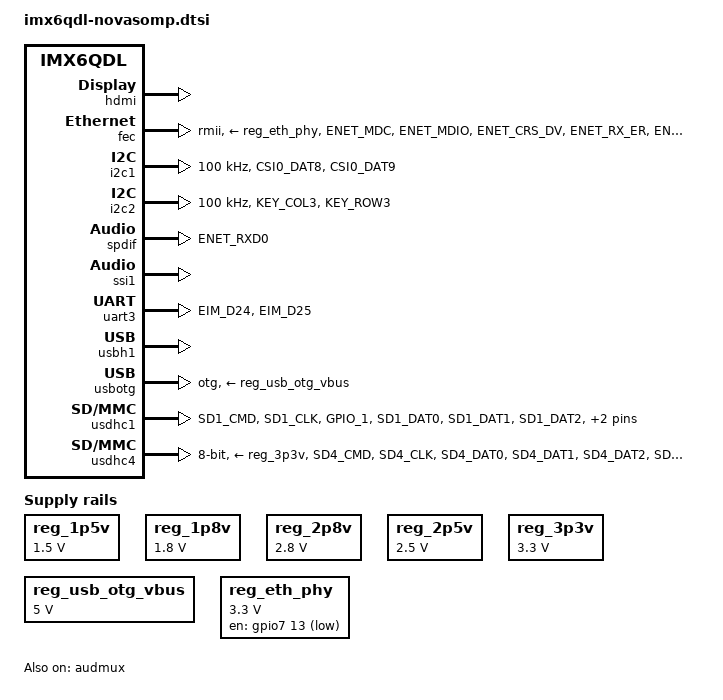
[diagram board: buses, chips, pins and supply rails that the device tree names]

// SPDX-License-Identifier: GPL-2.0
/*
 * Copyright 2020 NOVAsom Industries
 *
 * Author: Filippo Visocchi <filippo.visocchi@novasomindustries.com>
 */

#include <dt-bindings/gpio/gpio.h>

/ {
        chosen {
                stdout-path = &uart3;
        };

	sound-spdif {
		compatible = "fsl,imx-audio-spdif";
		model = "imx-spdif";
		spdif-controller = <&spdif>;
		spdif-out;
	};

	reg_1p5v: regulator-1p5v {
		compatible = "regulator-fixed";
		regulator-name = "1P5V";
		regulator-min-microvolt = <1500000>;
		regulator-max-microvolt = <1500000>;
		regulator-always-on;
	};

	reg_1p8v: regulator-1p8v {
		compatible = "regulator-fixed";
		regulator-name = "1P8V";
		regulator-min-microvolt = <1800000>;
		regulator-max-microvolt = <1800000>;
		regulator-always-on;
	};

	reg_2p8v: regulator-2p8v {
		compatible = "regulator-fixed";
		regulator-name = "2P8V";
		regulator-min-microvolt = <2800000>;
		regulator-max-microvolt = <2800000>;
		regulator-always-on;
	};

	reg_2p5v: regulator-2p5v {
		compatible = "regulator-fixed";
		regulator-name = "2P5V";
		regulator-min-microvolt = <2500000>;
		regulator-max-microvolt = <2500000>;
		regulator-always-on;
	};

	reg_3p3v: regulator-3p3v {
		compatible = "regulator-fixed";
		regulator-name = "3P3V";
		regulator-min-microvolt = <3300000>;
		regulator-max-microvolt = <3300000>;
		regulator-always-on;
	};

	reg_usb_otg_vbus: regulator-usbotgvbus {
		compatible = "regulator-fixed";
		regulator-name = "usb_otg_vbus";
		regulator-min-microvolt = <5000000>;
		regulator-max-microvolt = <5000000>;
		pinctrl-names = "default";
	};

	reg_eth_phy: regulator-eth-phy {
		compatible = "regulator-fixed";
		regulator-name = "ETH_PHY";
		regulator-min-microvolt = <3300000>;
		regulator-max-microvolt = <3300000>;
		gpio = <&gpio7 13 GPIO_ACTIVE_LOW>;
	};
};

&hdmi {
	ddc-i2c-bus = <&i2c2>;
	status = "okay";
};

&fec {
	phy-supply = <&reg_eth_phy>;
	status = "okay";
};

&audmux {
	pinctrl-names = "default";
	pinctrl-0 = <&pinctrl_audmux4>;
	status = "okay";
};

&i2c1 {
	clock-frequency = <100000>;
	pinctrl-names = "default";
	pinctrl-0 = <&pinctrl_i2c1>;
	status = "okay";
};

&i2c2 {
	clock-frequency = <100000>;
	pinctrl-names = "default";
	pinctrl-0 = <&pinctrl_i2c2>;
	status = "okay";

};

&fec {
	pinctrl-names = "default";
	pinctrl-0 = <&pinctrl_enet>;
	phy-mode = "rmii";
	status = "okay";
};

&spdif {
	pinctrl-names = "default";
	pinctrl-0 = <&pinctrl_spdif>;
	status = "okay";
};

&ssi1 {
	status = "okay";
};

&uart3 {
	pinctrl-names = "default";
	pinctrl-0 = <&pinctrl_uart3>;
	status = "okay";
};

&usbh1 {
	status = "okay";
};

&usbotg {
	vbus-supply = <&reg_usb_otg_vbus>;
	pinctrl-names = "default";
	disable-over-current;
	dr_mode = "otg";
	status = "okay";
};

&usdhc1 {
        pinctrl-names = "default";
        pinctrl-0 = <&pinctrl_usdhc1>;
        cd-gpios = <&gpio1 1 GPIO_ACTIVE_LOW>;
        no-1-8-v;
        keep-power-in-suspend;
        enable-sdio-wakeup;
        status = "okay";
};
&usdhc4 {
        pinctrl-names = "default";
        pinctrl-0 = <&pinctrl_usdhc4>;
        bus-width = <8>;
        vmmc-supply = <&reg_3p3v>;
        status = "okay";
};


&iomuxc {
    pinctrl-names = "default";
    imx6qdl-novasomp {
	pinctrl_audmux4: audmuxgrp4 {
		fsl,pins = <
		MX6QDL_PAD_DISP0_DAT23__AUD4_RXD          0x130b0
		MX6QDL_PAD_DISP0_DAT20__AUD4_TXC          0x130b0
		MX6QDL_PAD_DISP0_DAT21__AUD4_TXD          0x110b0
		MX6QDL_PAD_DISP0_DAT22__AUD4_TXFS         0x130b0
		>;
	};

        pinctrl_enet: enetgrp {
            fsl,pins = <
                MX6QDL_PAD_ENET_MDC__ENET_MDC           0x1b0b0
                MX6QDL_PAD_ENET_MDIO__ENET_MDIO         0x1b0b0
                MX6QDL_PAD_ENET_CRS_DV__ENET_RX_EN      0x1b0b0
                MX6QDL_PAD_ENET_RX_ER__ENET_RX_ER       0x1b0b0
                MX6QDL_PAD_ENET_TX_EN__ENET_TX_EN       0x1b0b0
                MX6QDL_PAD_ENET_RXD0__ENET_RX_DATA0     0x1b0b0
                MX6QDL_PAD_ENET_RXD1__ENET_RX_DATA1     0x1b0b0
                MX6QDL_PAD_ENET_TXD0__ENET_TX_DATA0     0x1b0b0
                MX6QDL_PAD_ENET_TXD1__ENET_TX_DATA1     0x1b0b0
            >;
        };
        pinctrl_hdmi_cec: hdmicecgrp {
            fsl,pins = <
                MX6QDL_PAD_EIM_A25__HDMI_TX_CEC_LINE    0x108b0
            >;
        };
        pinctrl_i2c1: i2c1grp {
            fsl,pins = <
                MX6QDL_PAD_CSI0_DAT8__I2C1_SDA           0x4001b8b1
                MX6QDL_PAD_CSI0_DAT9__I2C1_SCL           0x4001b8b1
            >;
        };
        pinctrl_i2c2: i2c2grp {
            fsl,pins = <
                MX6QDL_PAD_KEY_COL3__I2C2_SCL           0x4001b8b1
                MX6QDL_PAD_KEY_ROW3__I2C2_SDA           0x4001b8b1
            >;
        };
        pinctrl_heartbeat: heartbeatled-grp {
            fsl,pins = <
                MX6QDL_PAD_EIM_D31__GPIO3_IO31          0x17059
            >;
        };
        pinctrl_rc_feedback: rc_feedbackled-grp {
            fsl,pins = <
                MX6QDL_PAD_KEY_COL0__GPIO4_IO06         0x17059
            >;
        };
        pinctrl_novasomp_i_ir: novasomp-i-ir {
            fsl,pins = <
                MX6QDL_PAD_GPIO_2__GPIO1_IO02           0x1b0b1
            >;
        };
        lvds_enable_reg: lvdsgrp {
                fsl,pins = <
                        MX6QDL_PAD_GPIO_18__GPIO7_IO13  0x17059
                >;
        };
        lvds_bl_enable_reg: lvdsblgrp {
                fsl,pins = <
                        MX6QDL_PAD_GPIO_19__GPIO4_IO05  0x17059
                >;
        };
        pinctrl_pcie: pciegrp {
            fsl,pins = <
                MX6QDL_PAD_EIM_D30__GPIO3_IO30          0x17059
            >;
        };
        pinctrl_pcie_reg: pciereggrp {
            fsl,pins = <
                MX6QDL_PAD_NANDF_D4__GPIO2_IO04         0x1b0b0
            >;
        };
        pinctrl_uart3: uart3grp {
            fsl,pins = <
                MX6QDL_PAD_EIM_D24__UART3_TX_DATA       0x1b0b1
                MX6QDL_PAD_EIM_D25__UART3_RX_DATA       0x1b0b1
            >;
        };
        pinctrl_uart5: uart5grp {
            fsl,pins = <
                MX6QDL_PAD_KEY_COL1__UART5_TX_DATA      0x1b0b1
                MX6QDL_PAD_KEY_ROW1__UART5_RX_DATA      0x1b0b1
                MX6QDL_PAD_KEY_ROW4__UART5_CTS_B	0x1b0b1
            >;
        };
        pinctrl_usdhc1: usdhc1grp {
            fsl,pins = <
                MX6QDL_PAD_SD1_CMD__SD1_CMD             0x17059
                MX6QDL_PAD_SD1_CLK__SD1_CLK             0x10059
                MX6QDL_PAD_GPIO_1__SD1_CD_B 	        0x17059
                MX6QDL_PAD_SD1_DAT0__SD1_DATA0          0x17059
                MX6QDL_PAD_SD1_DAT1__SD1_DATA1          0x17059
                MX6QDL_PAD_SD1_DAT2__SD1_DATA2          0x17059
                MX6QDL_PAD_SD1_DAT3__SD1_DATA3          0x17059
            >;
        };
        pinctrl_usdhc4: usdhc4grp {
            fsl,pins = <
                MX6QDL_PAD_SD4_CMD__SD4_CMD             0x17059
                MX6QDL_PAD_SD4_CLK__SD4_CLK             0x10059
                MX6QDL_PAD_SD4_DAT0__SD4_DATA0          0x17059
                MX6QDL_PAD_SD4_DAT1__SD4_DATA1          0x17059
                MX6QDL_PAD_SD4_DAT2__SD4_DATA2          0x17059
                MX6QDL_PAD_SD4_DAT3__SD4_DATA3          0x17059
                MX6QDL_PAD_SD4_DAT4__SD4_DATA4          0x17059
                MX6QDL_PAD_SD4_DAT5__SD4_DATA5          0x17059
                MX6QDL_PAD_SD4_DAT6__SD4_DATA6          0x17059
                MX6QDL_PAD_SD4_DAT7__SD4_DATA7          0x17059
            >;
        };
        pinctrl_i2ctouch_irq: i2ctouch_irqgrp {
                fsl,pinmux-ids = <
                        MX6QDL_PAD_GPIO_6__GPIO1_IO06 
                >;
        };
        pinctrl_pwm1: pwm1grp {
                fsl,pins = <
                        MX6QDL_PAD_GPIO_9__PWM1_OUT 0x1b0b1
                >;
        };
	pinctrl_spdif: spdifgrp {
		fsl,pins = <
			MX6QDL_PAD_ENET_RXD0__SPDIF_OUT         0x1b0b0
		>;
	};

   };
};
